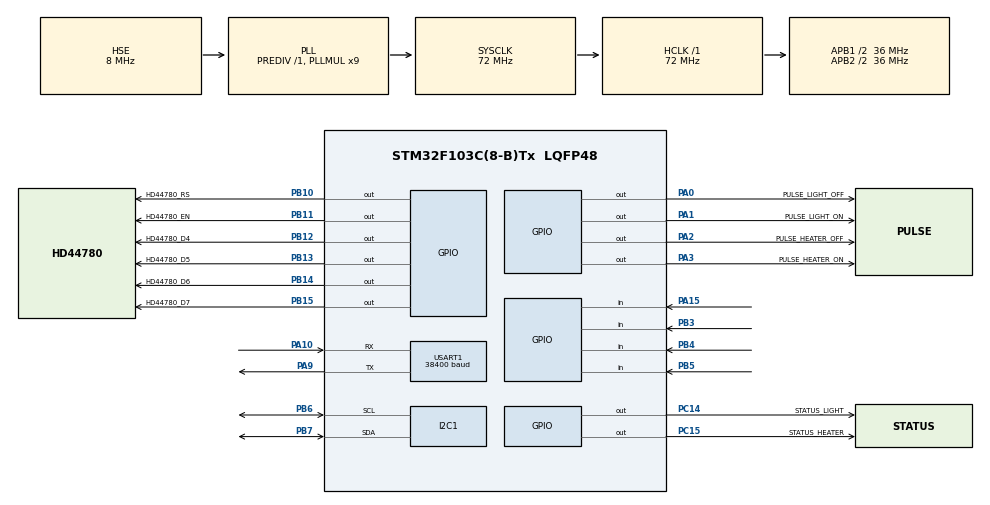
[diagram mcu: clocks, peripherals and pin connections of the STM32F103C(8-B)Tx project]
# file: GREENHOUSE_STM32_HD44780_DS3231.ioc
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Mcu.Family=STM32F1
Mcu.Name=STM32F103C(8-B)Tx
Mcu.Package=LQFP48
NVIC.I2C1_ER_IRQn=true\:0\:0\:false\:false\:true\:true
NVIC.I2C1_EV_IRQn=true\:0\:0\:false\:false\:true\:true
NVIC.PriorityGroup=NVIC_PRIORITYGROUP_4
NVIC.TIM1_BRK_IRQn=true\:0\:0\:false\:false\:true\:true
NVIC.TIM1_UP_IRQn=true\:0\:0\:false\:false\:true\:true
NVIC.USART1_IRQn=true\:0\:0\:false\:false\:true\:true
PA0-WKUP.GPIO_Label=PULSE_LIGHT_OFF
PA0-WKUP.Signal=GPIO_Output
PA1.GPIO_Label=PULSE_LIGHT_ON
PA1.Signal=GPIO_Output
PA10.Mode=Asynchronous
PA10.Signal=USART1_RX
PA13.Mode=Serial_Wire
PA13.Signal=SYS_JTMS-SWDIO
PA14.Mode=Serial_Wire
PA14.Signal=SYS_JTCK-SWCLK
PA15.GPIO_PuPd=GPIO_PULLDOWN
PA15.Signal=GPIO_Input
PA2.GPIO_Label=PULSE_HEATER_OFF
PA2.Signal=GPIO_Output
PA3.GPIO_Label=PULSE_HEATER_ON
PA3.Signal=GPIO_Output
PA9.Mode=Asynchronous
PA9.Signal=USART1_TX
PB10.GPIO_Label=HD44780_RS
PB10.Signal=GPIO_Output
PB11.GPIO_Label=HD44780_EN
PB11.Signal=GPIO_Output
PB12.GPIO_Label=HD44780_D4
PB12.Signal=GPIO_Output
PB13.GPIO_Label=HD44780_D5
PB13.Signal=GPIO_Output
PB14.GPIO_Label=HD44780_D6
PB14.Signal=GPIO_Output
PB15.GPIO_Label=HD44780_D7
PB15.Signal=GPIO_Output
PB3.GPIO_PuPd=GPIO_PULLDOWN
PB3.Signal=GPIO_Input
PB4.GPIO_PuPd=GPIO_PULLDOWN
PB4.Signal=GPIO_Input
PB5.GPIO_PuPd=GPIO_PULLDOWN
PB5.Signal=GPIO_Input
PB6.Mode=I2C
PB6.Signal=I2C1_SCL
PB7.Mode=I2C
PB7.Signal=I2C1_SDA
PC14-OSC32_IN.GPIO_Label=STATUS_LIGHT
PC14-OSC32_IN.Signal=GPIO_Output
PC15-OSC32_OUT.GPIO_Label=STATUS_HEATER
PC15-OSC32_OUT.Signal=GPIO_Output
PD0-OSC_IN.Mode=HSE-External-Oscillator
PD0-OSC_IN.Signal=RCC_OSC_IN
PD1-OSC_OUT.Mode=HSE-External-Oscillator
PD1-OSC_OUT.Signal=RCC_OSC_OUT
ProjectManager.HeapSize=0x200
ProjectManager.StackSize=0x400
ProjectManager.TargetToolchain=MDK-ARM V5
RCC.AHBFreq_Value=72000000
RCC.APB1CLKDivider=RCC_HCLK_DIV2
RCC.APB1Freq_Value=36000000
RCC.APB1TimFreq_Value=72000000
RCC.APB2CLKDivider=RCC_HCLK_DIV2
RCC.APB2Freq_Value=36000000
RCC.APB2TimFreq_Value=72000000
RCC.HCLKFreq_Value=72000000
RCC.PLLMUL=RCC_PLL_MUL9
RCC.PLLSourceVirtual=RCC_PLLSOURCE_HSE
RCC.SYSCLKFreq_VALUE=72000000
RCC.SYSCLKSource=RCC_SYSCLKSOURCE_PLLCLK
RCC.USBFreq_Value=72000000
TIM1.Period=7200
TIM1.Prescaler=10
USART1.BaudRate=38400
USART1.VirtualMode=VM_ASYNC
VP_TIM1_VS_ClockSourceINT.Mode=Internal
board=GREENHOUSE_STM32_HD44780_DS3231

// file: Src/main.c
/**
  ******************************************************************************
  * File Name          : main.c
  * Description        : Main program body
  ******************************************************************************
  ** This notice applies to any and all portions of this file
  * that are not between comment pairs USER CODE BEGIN and
  * USER CODE END. Other portions of this file, whether
  * inserted by the user or by software development tools
  * are owned by their respective copyright owners.
  *
  * COPYRIGHT(c) 2018 STMicroelectronics
  *
  * Redistribution and use in source and binary forms, with or without modification,
  * are permitted provided that the following conditions are met:
  *   1. Redistributions of source code must retain the above copyright notice,
  *      this list of conditions and the following disclaimer.
  *   2. Redistributions in binary form must reproduce the above copyright notice,
  *      this list of conditions and the following disclaimer in the documentation
  *      and/or other materials provided with the distribution.
  *   3. Neither the name of STMicroelectronics nor the names of its contributors
  *      may be used to endorse or promote products derived from this software
  *      without specific prior written permission.
  *
  * THIS SOFTWARE IS PROVIDED BY THE COPYRIGHT HOLDERS AND CONTRIBUTORS "AS IS"
  * AND ANY EXPRESS OR IMPLIED WARRANTIES, INCLUDING, BUT NOT LIMITED TO, THE
  * IMPLIED WARRANTIES OF MERCHANTABILITY AND FITNESS FOR A PARTICULAR PURPOSE ARE
  * DISCLAIMED. IN NO EVENT SHALL THE COPYRIGHT HOLDER OR CONTRIBUTORS BE LIABLE
  * FOR ANY DIRECT, INDIRECT, INCIDENTAL, SPECIAL, EXEMPLARY, OR CONSEQUENTIAL
  * DAMAGES (INCLUDING, BUT NOT LIMITED TO, PROCUREMENT OF SUBSTITUTE GOODS OR
  * SERVICES; LOSS OF USE, DATA, OR PROFITS; OR BUSINESS INTERRUPTION) HOWEVER
  * CAUSED AND ON ANY THEORY OF LIABILITY, WHETHER IN CONTRACT, STRICT LIABILITY,
  * OR TORT (INCLUDING NEGLIGENCE OR OTHERWISE) ARISING IN ANY WAY OUT OF THE USE
  * OF THIS SOFTWARE, EVEN IF ADVISED OF THE POSSIBILITY OF SUCH DAMAGE.
  *
  ******************************************************************************
  */

#include "main.h"
#include "stm32f1xx_hal.h"

/* USER CODE BEGIN Includes */
#include "string.h"
#include <stdint.h>
#include <stdbool.h>
#include <stdio.h>
#include <math.h>

#include "hd44780.h"
#include "ds3231.h"
/* USER CODE END Includes */

I2C_HandleTypeDef hi2c1;

TIM_HandleTypeDef htim1;

UART_HandleTypeDef huart1;

/* USER CODE BEGIN PV */
/* Private variables ---------------------------------------------------------*/
uint8_t sec = 0, min = 0, hour = 0, day = 0, date = 0, month = 0, year = 0, a1sec = 0, a1min = 0, a1hour = 0, a1day = 0, a1date = 0, a2min = 0, a2hour = 0, a2day = 0, a2date = 0,
set = 0, temperatureAfterpoint;
float temperature = 0.0, setTemperature = 25.5;
uint64_t milliseconds, updateRTC, updateUART;
bool powerLight = 1, powerHeater = 0;
/* USER CODE END PV */

void SystemClock_Config(void);
static void MX_GPIO_Init(void);
static void MX_I2C1_Init(void);
static void MX_USART1_UART_Init(void);
static void MX_TIM1_Init(void);

/* USER CODE BEGIN PFP */
/* Private function prototypes -----------------------------------------------*/
/* USER CODE END PFP */

/* USER CODE BEGIN 0 */

uint8_t rtcBuffer[19];

	uint8_t data[] = "UART OK\n";
	uint8_t rx_index = 0;
	uint8_t rx_data;
	uint8_t rx_buffer[256];

	void HAL_UART_RxCpltCallback(UART_HandleTypeDef *huart)
	{
		uint8_t i;
		if (huart->Instance == USART1)
		{
			if (rx_index == 0)
			{
				for (i = 0; i < 255; i++)
				{
					rx_buffer[i] = 0;
				}
			}
			rx_buffer[rx_index++] = rx_data;

	HAL_UART_Receive_IT(&huart1, &rx_data, 1);
		}
	}

	void relayLight(void)
{
			if (hour == a1hour && min == a1min) powerLight = 1;
			if (hour == a2hour && min == a2min) powerLight = 0;

			if (powerLight)
			{
			HAL_GPIO_WritePin(GPIOC, GPIO_PIN_14, GPIO_PIN_SET);
			HAL_GPIO_WritePin(GPIOA, GPIO_PIN_1, GPIO_PIN_RESET);
			HAL_GPIO_WritePin(GPIOA, GPIO_PIN_0, GPIO_PIN_SET);
			HAL_Delay(250);
			HAL_GPIO_WritePin(GPIOA, GPIO_PIN_0, GPIO_PIN_RESET);
			HD44780_SetPos(0, 10);
			HD44780_SendChar('>');
			HD44780_SetPos(1, 10);
			HD44780_SendChar(' ');
			}
			else
			{
			HAL_GPIO_WritePin(GPIOC, GPIO_PIN_14, GPIO_PIN_RESET);
			HAL_GPIO_WritePin(GPIOA, GPIO_PIN_0, GPIO_PIN_RESET);
			HAL_GPIO_WritePin(GPIOA, GPIO_PIN_1, GPIO_PIN_SET);
			HAL_Delay(250);
			HAL_GPIO_WritePin(GPIOA, GPIO_PIN_1, GPIO_PIN_RESET);
			HD44780_SetPos(0, 10);
			HD44780_SendChar(' ');
			HD44780_SetPos(1, 10);
			HD44780_SendChar('>');
			}
}

	void relayHeater(void)
	{
			if (temperature < setTemperature) powerHeater = 1; else powerHeater = 0;

			if (powerHeater)
			{
			HAL_GPIO_WritePin(GPIOC, GPIO_PIN_15, GPIO_PIN_SET);
			HAL_GPIO_WritePin(GPIOA, GPIO_PIN_3, GPIO_PIN_RESET);
			HAL_GPIO_WritePin(GPIOA, GPIO_PIN_2, GPIO_PIN_SET);
			HAL_Delay(250);
			HAL_GPIO_WritePin(GPIOA, GPIO_PIN_2, GPIO_PIN_RESET);
			}
			else
			{
			HAL_GPIO_WritePin(GPIOC, GPIO_PIN_15, GPIO_PIN_RESET);
			HAL_GPIO_WritePin(GPIOA, GPIO_PIN_2, GPIO_PIN_RESET);
			HAL_GPIO_WritePin(GPIOA, GPIO_PIN_3, GPIO_PIN_SET);
			HAL_Delay(250);
			HAL_GPIO_WritePin(GPIOA, GPIO_PIN_3, GPIO_PIN_RESET);
			}
	}

/* USER CODE END 0 */

int main(void)
{

  /* MCU Configuration----------------------------------------------------------*/

  /* Reset of all peripherals, Initializes the Flash interface and the Systick. */
  HAL_Init();

  /* Configure the system clock */
  SystemClock_Config();

  /* Initialize all configured peripherals */
  MX_GPIO_Init();
  MX_I2C1_Init();
  MX_USART1_UART_Init();
  MX_TIM1_Init();

  /* USER CODE BEGIN 2 */
	HAL_UART_Receive_IT (&huart1, &rx_data, 1);

	uint8_t uartTransmit[] = "UART OK\r\n";
	HAL_UART_Transmit(&huart1, uartTransmit, sizeof(uartTransmit), 100);

	HD44780_Init();
	HD44780_Clear();
	HD44780_SetPos(0, 0);
	HD44780_String("*** STRING 0 ***");
	HD44780_SetPos(1, 0);
	HD44780_String("*** STRING 1 ***");
	HAL_Delay(500);
	HD44780_Clear();
	relayLight();
	relayHeater();

//	HAL_GPIO_WritePin(GPIOC, GPIO_PIN_13, GPIO_PIN_RESET);

	HAL_TIM_Base_Start_IT(&htim1);
  /* USER CODE END 2 */

  /* Infinite loop */
  while (1)
  {

  /* USER CODE BEGIN 3 */
		if (rx_index != 0)
		{
		HD44780_Clear();
		HD44780_SetPos(0, 0);
		HD44780_String((char*)rx_buffer);
		rx_index = 0;
		HAL_Delay(1000);
		}

		if (!sec) relayHeater();
		if (!sec && (a1hour != a2hour || a1min != a2min)) relayLight();

	if (milliseconds > updateRTC + 250)
	{
		updateRTC = milliseconds;
		rtcBuffer[0] = 0;

		HAL_I2C_Master_Transmit(&hi2c1, DS3231_ADDRESS, rtcBuffer, 1, 100);
		HAL_I2C_Master_Receive(&hi2c1, DS3231_ADDRESS, rtcBuffer, 19, 100);

		if ((bcdToDec(rtcBuffer[0]) % 2 == 0 || set == 1 || set == 2 || set == 3) && (set != 4 && set != 5 && set != 6))
		{
		hour = rtcBuffer[2];
		hour = bcdToDec(hour);
		HD44780_SetPos(0, 0);
		if (bcdToDec(rtcBuffer[0]) % 2 == 0 && set == 1) HD44780_String("  ");
		else
		{
		HD44780_SendChar((char) ((hour / 10) % 10) + 0x30);
		HD44780_SendChar((char) ((hour) % 10) + 0x30);
		}
		HD44780_SendChar(':');
		min = rtcBuffer[1];
		min = bcdToDec(min);
		if (bcdToDec(rtcBuffer[0]) % 2 == 0 && set == 2) HD44780_String("  ");
		else
		{
		HD44780_SendChar((char) ((min / 10) % 10) + 0x30);
		HD44780_SendChar((char) ((min) % 10) + 0x30);
		}
		HD44780_SendChar(':');
		sec = rtcBuffer[0];
		sec = bcdToDec(sec);
		HD44780_SendChar((char) ((sec / 10) % 10) + 0x30);
		HD44780_SendChar((char) ((sec) % 10) + 0x30);
		HD44780_SendChar(' ');
		day = rtcBuffer[3];
		day = bcdToDec(day);
		if (bcdToDec(rtcBuffer[0]) % 2 == 0 && set == 3) HD44780_String(" ");
		else HD44780_SendChar((char) (day) + 0x30);
		}
		else if ((bcdToDec(rtcBuffer[0]) % 2 != 0 || set == 4 || set == 5 || set == 6) && (set != 1 && set != 2 && set != 3))
		{
		HD44780_SetPos(0, 0);
		date = rtcBuffer[4];
		date = bcdToDec(date);
		if (bcdToDec(rtcBuffer[0]) % 2 == 0 && set == 4) HD44780_String("  ");
		else
			{
		HD44780_SendChar((char) ((date / 10) % 10) + 0x30);
		HD44780_SendChar((char) ((date) % 10) + 0x30);
			}
		HD44780_SendChar('/');
		month = rtcBuffer[5];
		month = bcdToDec(month);
		if (bcdToDec(rtcBuffer[0]) % 2 == 0 && set == 5) HD44780_String("  ");
		else
			{
		HD44780_SendChar((char) ((month / 10) % 10) + 0x30);
		HD44780_SendChar((char) ((month) % 10) + 0x30);
			}
		HD44780_SendChar('/');
		year = rtcBuffer[6];
		year = bcdToDec(year);
		if (bcdToDec(rtcBuffer[0]) % 2 == 0 && set == 6) HD44780_String("  ");
		else
			{
		HD44780_SendChar((char) ((year / 10) % 10) + 0x30);
		HD44780_SendChar((char) ((year) % 10) + 0x30);
			}
		HD44780_SendChar(' ');
		}

		a1hour = rtcBuffer[9];
		a1hour = bcdToDec(a1hour);
		HD44780_SetPos(0, 11);
			if (bcdToDec(rtcBuffer[0]) % 2 == 0 && set == 7) HD44780_String("  ");
			else
				{
		HD44780_SendChar((char) ((a1hour / 10) % 10) + 0x30);
		HD44780_SendChar((char) ((a1hour) % 10) + 0x30);
				}
		HD44780_SendChar(':');
		a1min = rtcBuffer[8];
		a1min = bcdToDec(a1min);
				if (bcdToDec(rtcBuffer[0]) % 2 == 0 && set == 8) HD44780_String("  ");
				else
				{
		HD44780_SendChar((char) ((a1min / 10) % 10) + 0x30);
		HD44780_SendChar((char) ((a1min) % 10) + 0x30);
				}
		a2hour = rtcBuffer[13];
		a2hour = bcdToDec(a2hour);
		HD44780_SetPos(1, 11);
				if (bcdToDec(rtcBuffer[0]) % 2 == 0 && set == 9) HD44780_String("  ");
				else
				{
		HD44780_SendChar((char) ((a2hour / 10) % 10) + 0x30);
		HD44780_SendChar((char) ((a2hour) % 10) + 0x30);
				}
		HD44780_SendChar(':');
		a2min = rtcBuffer[12];
		a2min = bcdToDec(a2min);
				if (bcdToDec(rtcBuffer[0]) % 2 == 0 && set == 10) HD44780_String("  ");
				else
				{
		HD44780_SendChar((char) ((a2min / 10) % 10) + 0x30);
		HD44780_SendChar((char) ((a2min) % 10) + 0x30);
				}

		temperature = DS3231_getTemperature(rtcBuffer[17], rtcBuffer[18]);
		HD44780_SetPos(1, 0);
		temperatureAfterpoint = ((temperature*100)-(uint8_t)temperature*100);
		HD44780_SendChar((char) (((uint8_t)temperature / 10) % 10) + 0x30);
		HD44780_SendChar((char) (((uint8_t)temperature) % 10) + 0x30);
		HD44780_SendChar('.');
		HD44780_SendChar((char) ((temperatureAfterpoint / 10) % 10) + 0x30);
		HD44780_SendChar((char) ((temperatureAfterpoint) % 10) + 0x30);

		HD44780_SetPos(1, 5);
		HD44780_SendChar(0xDF);

		HD44780_SetPos(1, 6);
		HD44780_SendChar((char) (((uint8_t)setTemperature / 10) % 10) + 0x30);
		HD44780_SendChar((char) (((uint8_t)setTemperature) % 10) + 0x30);
		HD44780_SendChar('.');
		uint8_t setTemperatureAfterpoint = ((setTemperature*100)-(uint8_t)setTemperature*100);
		HD44780_SendChar((char) ((setTemperatureAfterpoint / 10) % 10) + 0x30);
	}

if (milliseconds > updateUART + 5000)
{
		updateUART = milliseconds;

		uint8_t uartTransmit[] = "T:";
		HAL_UART_Transmit(&huart1, uartTransmit, sizeof(uartTransmit), 100);

		uint8_t uartTransmitTemperature[8] = { NULL };
		uartTransmitTemperature[0] = ((((uint8_t)temperature / 10) % 10) + 0x30);
		uartTransmitTemperature[1] = ((((uint8_t)temperature) % 10) + 0x30);
		uartTransmitTemperature[2] = 0x2E;
		uartTransmitTemperature[3] =  (((temperatureAfterpoint / 10) % 10) + 0x30);
		uartTransmitTemperature[4] = (((temperatureAfterpoint) % 10) + 0x30);
		uartTransmitTemperature[5] = 0x43;
		uartTransmitTemperature[6] = 0x0A;
		uartTransmitTemperature[7] = 0x0D;

		HAL_UART_Transmit(&huart1, uartTransmitTemperature, sizeof(uartTransmitTemperature), 100);
}

		if (HAL_GPIO_ReadPin(GPIOA, GPIO_PIN_15) == GPIO_PIN_SET)
		{
			if (powerLight) powerLight = 0; else powerLight = 1;
			relayLight(); HAL_Delay(500);
		}

		if (HAL_GPIO_ReadPin(GPIOB, GPIO_PIN_3) == GPIO_PIN_SET)
		{
			if (set < 10) set++; else set = 0;
			HAL_Delay(500);
		}

	if (HAL_GPIO_ReadPin(GPIOB, GPIO_PIN_4) == GPIO_PIN_SET)
	{
		if (!set)
		{
			if (setTemperature >= 0.5)
			{
			setTemperature = setTemperature - 0.5;
			}
			relayHeater();
			HAL_Delay(500);
		}
		else
		{
			rtcBuffer[0] = 0;
			HAL_I2C_Master_Transmit(&hi2c1, DS3231_ADDRESS, rtcBuffer, 1, 100);
			HAL_I2C_Master_Receive(&hi2c1, DS3231_ADDRESS, rtcBuffer, 19, 100);
			rtcBuffer[0] = 0;
			HAL_I2C_Master_Transmit(&hi2c1, 0xD0, rtcBuffer, 1, 100);
			switch (set)
			{
				case 1: if (hour > 0) hour--; else hour = 23; break;
				case 2: if (min > 0) { min--; sec = 0;} else { min = 59; sec = 0;} break;
				case 3: if (day > 1) day--; else day = 7; break;
				case 4: if (date > 1) date--; else date = 31; break;
				case 5: if (month > 1) month--; else month = 12; break;
				case 6: if (year > 0) year--; else year = 99; break;
				case 7: if (a1hour > 0) a1hour--; else a1hour = 23; break;
				case 8: if (a1min > 0) a1min--; else a1min = 59; break;
				case 9: if (a2hour > 0) a2hour--; else a2hour = 23; break;
				case 10: if (a2min > 0) a2min--; else a2min = 59; break;
			}
				rtcBuffer[1] = decToBcd(sec);
				rtcBuffer[2] = decToBcd(min);
				rtcBuffer[3] = decToBcd(hour);
				rtcBuffer[4] = decToBcd(day);
				rtcBuffer[5] = decToBcd(date);
				rtcBuffer[6] = decToBcd(month);
				rtcBuffer[7] = decToBcd(year);
				rtcBuffer[8] = decToBcd(a1sec);
				rtcBuffer[9] = decToBcd(a1min);
				rtcBuffer[10] = decToBcd(a1hour);
				rtcBuffer[11] = decToBcd(a1day);
				rtcBuffer[12] = decToBcd(a1date);
				rtcBuffer[13] = decToBcd(a2min);
				rtcBuffer[14] = decToBcd(a2hour);
				rtcBuffer[15] = decToBcd(a2day);
				rtcBuffer[16] = decToBcd(a2date);
				HAL_I2C_Master_Transmit(&hi2c1, 0xD0, rtcBuffer, 17, 100);
				HAL_Delay(500);
		}
	}

	if (HAL_GPIO_ReadPin(GPIOB, GPIO_PIN_5) == GPIO_PIN_SET)
	{
		if (!set)
		{
			if (setTemperature <= 29.5)
			{
			setTemperature = setTemperature + 0.5;
			}
			relayHeater();
			HAL_Delay(500);
		}
		else
		{
			rtcBuffer[0] = 0;
			HAL_I2C_Master_Transmit(&hi2c1, DS3231_ADDRESS, rtcBuffer, 1, 100);
			HAL_I2C_Master_Receive(&hi2c1, DS3231_ADDRESS, rtcBuffer, 19, 100);
			rtcBuffer[0] = 0;
			HAL_I2C_Master_Transmit(&hi2c1, 0xD0, rtcBuffer, 1, 100);
			switch (set)
			{
			case 1: if (hour < 23) hour++; else hour = 0; break;
			case 2: if (min < 59) { min++; sec = 0; } else { min = 0; sec = 0; } break;
			case 3: if (day < 7) day++; else day = 1; break;
			case 4: if (date < 31) date++; else date = 1; break;
			case 5: if (month < 12) month++; else month = 1; break;
			case 6: if (year < 99) year++; else year = 0; break;
			case 7: if (a1hour < 23) a1hour++; else a1hour = 0; break;
			case 8: if (a1min < 59) a1min++; else a1min = 0; break;
			case 9: if (a2hour < 23) a2hour++; else a2hour = 0; break;
			case 10: if (a2min < 59) a2min++; else a2min = 0; break;
			}
				rtcBuffer[1] = decToBcd(sec);
				rtcBuffer[2] = decToBcd(min);
				rtcBuffer[3] = decToBcd(hour);
				rtcBuffer[4] = decToBcd(day);
				rtcBuffer[5] = decToBcd(date);
				rtcBuffer[6] = decToBcd(month);
				rtcBuffer[7] = decToBcd(year);
				rtcBuffer[8] = decToBcd(a1sec);
				rtcBuffer[9] = decToBcd(a1min);
				rtcBuffer[10] = decToBcd(a1hour);
				rtcBuffer[11] = decToBcd(a1day);
				rtcBuffer[12] = decToBcd(a1date);
				rtcBuffer[13] = decToBcd(a2min);
				rtcBuffer[14] = decToBcd(a2hour);
				rtcBuffer[15] = decToBcd(a2day);
				rtcBuffer[16] = decToBcd(a2date);
				HAL_I2C_Master_Transmit(&hi2c1, 0xD0, rtcBuffer, 17, 100);
				HAL_Delay(500);
			}
		}
  }
  /* USER CODE END 3 */

}

/** System Clock Configuration
*/
void SystemClock_Config(void)
{

  RCC_OscInitTypeDef RCC_OscInitStruct;
  RCC_ClkInitTypeDef RCC_ClkInitStruct;

    /**Initializes the CPU, AHB and APB busses clocks
    */
  RCC_OscInitStruct.OscillatorType = RCC_OSCILLATORTYPE_HSE;
  RCC_OscInitStruct.HSEState = RCC_HSE_ON;
  RCC_OscInitStruct.HSEPredivValue = RCC_HSE_PREDIV_DIV1;
  RCC_OscInitStruct.HSIState = RCC_HSI_ON;
  RCC_OscInitStruct.PLL.PLLState = RCC_PLL_ON;
  RCC_OscInitStruct.PLL.PLLSource = RCC_PLLSOURCE_HSE;
  RCC_OscInitStruct.PLL.PLLMUL = RCC_PLL_MUL9;
  if (HAL_RCC_OscConfig(&RCC_OscInitStruct) != HAL_OK)
  {
    _Error_Handler(__FILE__, __LINE__);
  }

    /**Initializes the CPU, AHB and APB busses clocks
    */
  RCC_ClkInitStruct.ClockType = RCC_CLOCKTYPE_HCLK|RCC_CLOCKTYPE_SYSCLK
                              |RCC_CLOCKTYPE_PCLK1|RCC_CLOCKTYPE_PCLK2;
  RCC_ClkInitStruct.SYSCLKSource = RCC_SYSCLKSOURCE_PLLCLK;
  RCC_ClkInitStruct.AHBCLKDivider = RCC_SYSCLK_DIV1;
  RCC_ClkInitStruct.APB1CLKDivider = RCC_HCLK_DIV2;
  RCC_ClkInitStruct.APB2CLKDivider = RCC_HCLK_DIV2;

  if (HAL_RCC_ClockConfig(&RCC_ClkInitStruct, FLASH_LATENCY_2) != HAL_OK)
  {
    _Error_Handler(__FILE__, __LINE__);
  }

    /**Configure the Systick interrupt time
    */
  HAL_SYSTICK_Config(HAL_RCC_GetHCLKFreq()/1000);

    /**Configure the Systick
    */
  HAL_SYSTICK_CLKSourceConfig(SYSTICK_CLKSOURCE_HCLK);

  /* SysTick_IRQn interrupt configuration */
  HAL_NVIC_SetPriority(SysTick_IRQn, 0, 0);
}

/* I2C1 init function */
static void MX_I2C1_Init(void)
{

  hi2c1.Instance = I2C1;
  hi2c1.Init.ClockSpeed = 100000;
  hi2c1.Init.DutyCycle = I2C_DUTYCYCLE_2;
  hi2c1.Init.OwnAddress1 = 0;
  hi2c1.Init.AddressingMode = I2C_ADDRESSINGMODE_7BIT;
  hi2c1.Init.DualAddressMode = I2C_DUALADDRESS_DISABLE;
  hi2c1.Init.OwnAddress2 = 0;
  hi2c1.Init.GeneralCallMode = I2C_GENERALCALL_DISABLE;
  hi2c1.Init.NoStretchMode = I2C_NOSTRETCH_DISABLE;
  if (HAL_I2C_Init(&hi2c1) != HAL_OK)
  {
    _Error_Handler(__FILE__, __LINE__);
  }

}

/* TIM1 init function */
static void MX_TIM1_Init(void)
{

  TIM_ClockConfigTypeDef sClockSourceConfig;
  TIM_MasterConfigTypeDef sMasterConfig;

  htim1.Instance = TIM1;
  htim1.Init.Prescaler = 10;
  htim1.Init.CounterMode = TIM_COUNTERMODE_UP;
  htim1.Init.Period = 7200;
  htim1.Init.ClockDivision = TIM_CLOCKDIVISION_DIV1;
  htim1.Init.RepetitionCounter = 0;
  htim1.Init.AutoReloadPreload = TIM_AUTORELOAD_PRELOAD_DISABLE;
  if (HAL_TIM_Base_Init(&htim1) != HAL_OK)
  {
    _Error_Handler(__FILE__, __LINE__);
  }

  sClockSourceConfig.ClockSource = TIM_CLOCKSOURCE_INTERNAL;
  if (HAL_TIM_ConfigClockSource(&htim1, &sClockSourceConfig) != HAL_OK)
  {
    _Error_Handler(__FILE__, __LINE__);
  }

  sMasterConfig.MasterOutputTrigger = TIM_TRGO_RESET;
  sMasterConfig.MasterSlaveMode = TIM_MASTERSLAVEMODE_DISABLE;
  if (HAL_TIMEx_MasterConfigSynchronization(&htim1, &sMasterConfig) != HAL_OK)
  {
    _Error_Handler(__FILE__, __LINE__);
  }

}

/* USART1 init function */
static void MX_USART1_UART_Init(void)
{

  huart1.Instance = USART1;
  huart1.Init.BaudRate = 38400;
  huart1.Init.WordLength = UART_WORDLENGTH_8B;
  huart1.Init.StopBits = UART_STOPBITS_1;
  huart1.Init.Parity = UART_PARITY_NONE;
  huart1.Init.Mode = UART_MODE_TX_RX;
  huart1.Init.HwFlowCtl = UART_HWCONTROL_NONE;
  huart1.Init.OverSampling = UART_OVERSAMPLING_16;
  if (HAL_UART_Init(&huart1) != HAL_OK)
  {
    _Error_Handler(__FILE__, __LINE__);
  }

}

/** Configure pins as
        * Analog
        * Input
        * Output
        * EVENT_OUT
        * EXTI
*/
static void MX_GPIO_Init(void)
{

  GPIO_InitTypeDef GPIO_InitStruct;

  /* GPIO Ports Clock Enable */
  __HAL_RCC_GPIOC_CLK_ENABLE();
  __HAL_RCC_GPIOD_CLK_ENABLE();
  __HAL_RCC_GPIOA_CLK_ENABLE();
  __HAL_RCC_GPIOB_CLK_ENABLE();

  /*Configure GPIO pin Output Level */
  HAL_GPIO_WritePin(GPIOC, STATUS_LIGHT_Pin|STATUS_HEATER_Pin, GPIO_PIN_RESET);

  /*Configure GPIO pin Output Level */
  HAL_GPIO_WritePin(GPIOA, PULSE_LIGHT_OFF_Pin|PULSE_LIGHT_ON_Pin|PULSE_HEATER_OFF_Pin|PULSE_HEATER_ON_Pin, GPIO_PIN_RESET);

  /*Configure GPIO pin Output Level */
  HAL_GPIO_WritePin(GPIOB, HD44780_RS_Pin|HD44780_EN_Pin|HD44780_D4_Pin|HD44780_D5_Pin
                          |HD44780_D6_Pin|HD44780_D7_Pin, GPIO_PIN_RESET);

  /*Configure GPIO pins : STATUS_LIGHT_Pin STATUS_HEATER_Pin */
  GPIO_InitStruct.Pin = STATUS_LIGHT_Pin|STATUS_HEATER_Pin;
  GPIO_InitStruct.Mode = GPIO_MODE_OUTPUT_PP;
  GPIO_InitStruct.Speed = GPIO_SPEED_FREQ_LOW;
  HAL_GPIO_Init(GPIOC, &GPIO_InitStruct);

  /*Configure GPIO pins : PULSE_LIGHT_OFF_Pin PULSE_LIGHT_ON_Pin PULSE_HEATER_OFF_Pin PULSE_HEATER_ON_Pin */
  GPIO_InitStruct.Pin = PULSE_LIGHT_OFF_Pin|PULSE_LIGHT_ON_Pin|PULSE_HEATER_OFF_Pin|PULSE_HEATER_ON_Pin;
  GPIO_InitStruct.Mode = GPIO_MODE_OUTPUT_PP;
  GPIO_InitStruct.Speed = GPIO_SPEED_FREQ_LOW;
  HAL_GPIO_Init(GPIOA, &GPIO_InitStruct);

  /*Configure GPIO pins : HD44780_RS_Pin HD44780_EN_Pin HD44780_D4_Pin HD44780_D5_Pin
                           HD44780_D6_Pin HD44780_D7_Pin */
  GPIO_InitStruct.Pin = HD44780_RS_Pin|HD44780_EN_Pin|HD44780_D4_Pin|HD44780_D5_Pin
                          |HD44780_D6_Pin|HD44780_D7_Pin;
  GPIO_InitStruct.Mode = GPIO_MODE_OUTPUT_PP;
  GPIO_InitStruct.Speed = GPIO_SPEED_FREQ_LOW;
  HAL_GPIO_Init(GPIOB, &GPIO_InitStruct);

  /*Configure GPIO pin : PA15 */
  GPIO_InitStruct.Pin = GPIO_PIN_15;
  GPIO_InitStruct.Mode = GPIO_MODE_INPUT;
  GPIO_InitStruct.Pull = GPIO_PULLDOWN;
  HAL_GPIO_Init(GPIOA, &GPIO_InitStruct);

  /*Configure GPIO pins : PB3 PB4 PB5 */
  GPIO_InitStruct.Pin = GPIO_PIN_3|GPIO_PIN_4|GPIO_PIN_5;
  GPIO_InitStruct.Mode = GPIO_MODE_INPUT;
  GPIO_InitStruct.Pull = GPIO_PULLDOWN;
  HAL_GPIO_Init(GPIOB, &GPIO_InitStruct);

}

void _Error_Handler(char * file, int line)
{
  while(1)
  {
  }
}

/************************ (C) COPYRIGHT STMicroelectronics *****END OF FILE****/
